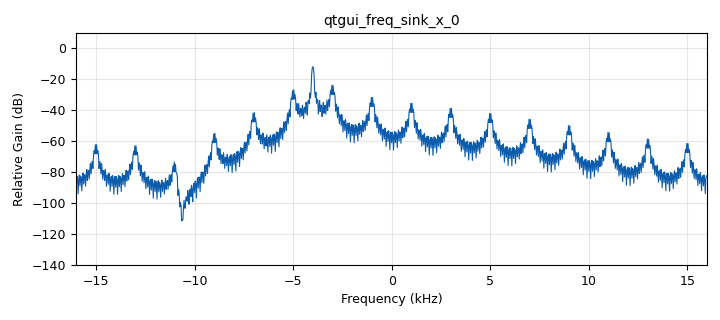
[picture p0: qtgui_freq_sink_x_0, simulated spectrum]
<?xml version='1.0' encoding='utf-8'?>
<?grc format='1' created='3.7.13'?>
<flow_graph>
<block>
<key>options</key>
<param><key>id</key><value>top_block</value></param>
<param><key>generate_options</key><value>qt_gui</value></param>
</block>
<block>
<key>variable</key>
<param><key>id</key><value>samp_rate</value></param>
<param><key>value</key><value>32000</value></param>
</block>
<block>
<key>analog_sig_source_x</key>
<param><key>id</key><value>analog_sig_source_x_0</value></param>
<param><key>amp</key><value>1</value></param>
<param><key>freq</key><value>1000</value></param>
<param><key>offset</key><value>0</value></param>
<param><key>type</key><value>float</value></param>
<param><key>samp_rate</key><value>samp_rate</value></param>
<param><key>waveform</key><value>analog.GR_COS_WAVE</value></param>
</block>
<block>
<key>audio_sink</key>
<param><key>id</key><value>audio_sink_0</value></param>
<param><key>samp_rate</key><value>samp_rate</value></param>
</block>
<block>
<key>blocks_float_to_uchar</key>
<param><key>id</key><value>blocks_float_to_uchar_0</value></param>
</block>
<block>
<key>blocks_throttle</key>
<param><key>id</key><value>blocks_throttle_0</value></param>
<param><key>samples_per_second</key><value>samp_rate</value></param>
<param><key>type</key><value>float</value></param>
</block>
<block>
<key>digital_gmsk_mod</key>
<param><key>id</key><value>digital_gmsk_mod_0</value></param>
<param><key>bt</key><value>0.35</value></param>
<param><key>samples_per_symbol</key><value>2</value></param>
</block>
<block>
<key>qtgui_freq_sink_x</key>
<param><key>id</key><value>qtgui_freq_sink_x_0</value></param>
<param><key>bw</key><value>samp_rate</value></param>
<param><key>fc</key><value>0</value></param>
<param><key>fftsize</key><value>1024</value></param>
<param><key>showports</key><value>True</value></param>
<param><key>type</key><value>complex</value></param>
<param><key>wintype</key><value>firdes.WIN_BLACKMAN_hARRIS</value></param>
</block>
<block>
<key>uhd_usrp_sink</key>
<param><key>id</key><value>uhd_usrp_sink_0</value></param>
<param><key>ant0</key><value>TX/RX</value></param>
<param><key>bw0</key><value>125</value></param>
<param><key>center_freq0</key><value>915000000</value></param>
<param><key>norm_gain0</key><value>False</value></param>
<param><key>gain0</key><value>10</value></param>
<param><key>clock_rate</key><value>0.0</value></param>
<param><key>dev_args</key><value>""</value></param>
<param><key>type</key><value>fc32</value></param>
<param><key>samp_rate</key><value>samp_rate</value></param>
<param><key>hide_cmd_port</key><value>False</value></param>
<param><key>hide_lo_controls</key><value>True</value></param>
<param><key>sync</key><value></value></param>
<param><key>len_tag_name</key><value></value></param>
</block>
<connection><source_block_id>analog_sig_source_x_0</source_block_id><sink_block_id>blocks_float_to_uchar_0</sink_block_id><source_key>0</source_key><sink_key>0</sink_key></connection>
<connection><source_block_id>analog_sig_source_x_0</source_block_id><sink_block_id>blocks_throttle_0</sink_block_id><source_key>0</source_key><sink_key>0</sink_key></connection>
<connection><source_block_id>blocks_float_to_uchar_0</source_block_id><sink_block_id>digital_gmsk_mod_0</sink_block_id><source_key>0</source_key><sink_key>0</sink_key></connection>
<connection><source_block_id>blocks_throttle_0</source_block_id><sink_block_id>audio_sink_0</sink_block_id><source_key>0</source_key><sink_key>0</sink_key></connection>
<connection><source_block_id>digital_gmsk_mod_0</source_block_id><sink_block_id>qtgui_freq_sink_x_0</sink_block_id><source_key>0</source_key><sink_key>0</sink_key></connection>
<connection><source_block_id>digital_gmsk_mod_0</source_block_id><sink_block_id>uhd_usrp_sink_0</sink_block_id><source_key>0</source_key><sink_key>0</sink_key></connection>
</flow_graph>
